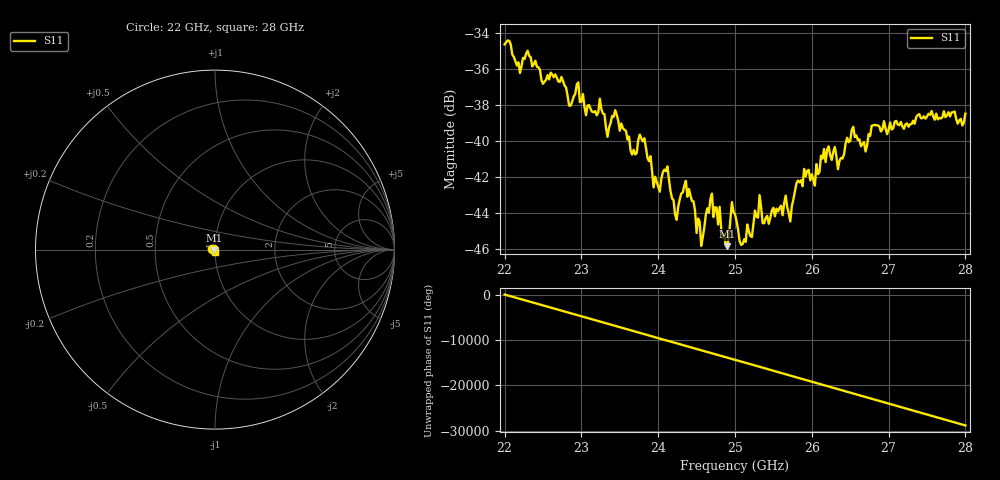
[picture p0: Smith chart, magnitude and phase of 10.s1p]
#  HZ  S  RI  R  50.00
! Rohde & Schwarz ZVA40 4Ports - Version 3.90 - 1145.1110k42 SN: 100403
! Date: 2023-10-04 08:32:18
! Measurement: S12
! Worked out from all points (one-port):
!   301 points, 22 GHz to 28 GHz, reference 50 ohm
!   lowest |S11| = -45.8 dB at 24.9 GHz (marker M1), VSWR 1.01, Z = 49.5 - j0.169 ohm
!   |S11| at or under -10 dB: start of sweep to end of sweep
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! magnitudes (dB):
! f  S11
! 22 GHz  -34.7
! 22.76 GHz  -36.7
! 23.5 GHz  -39.4
! 23.66 GHz  -40.8
! 23.82 GHz  -39.9
! 23.94 GHz  -42.6
! 24.12 GHz  -41.4
! 24.26 GHz  -43.7
! 24.36 GHz  -42.2
! 24.56 GHz  -45.8
! 24.7 GHz  -42.9
! 24.9 GHz  -45.8
! 24.96 GHz  -43.4
! 25 GHz  -44.1
! 25.08 GHz  -45.8
! 25.22 GHz  -45.3
! 25.32 GHz  -43.0
! 25.36 GHz  -44.6
! 25.66 GHz  -43.0
! 25.72 GHz  -44.5
! 25.76 GHz  -43.3
! 25.9 GHz  -41.6
! 26.04 GHz  -42.5
! 26.16 GHz  -40.4
! 26.34 GHz  -41.6
! 26.5 GHz  -40.0
! 27.26 GHz  -39.2
! 28 GHz  -38.5
